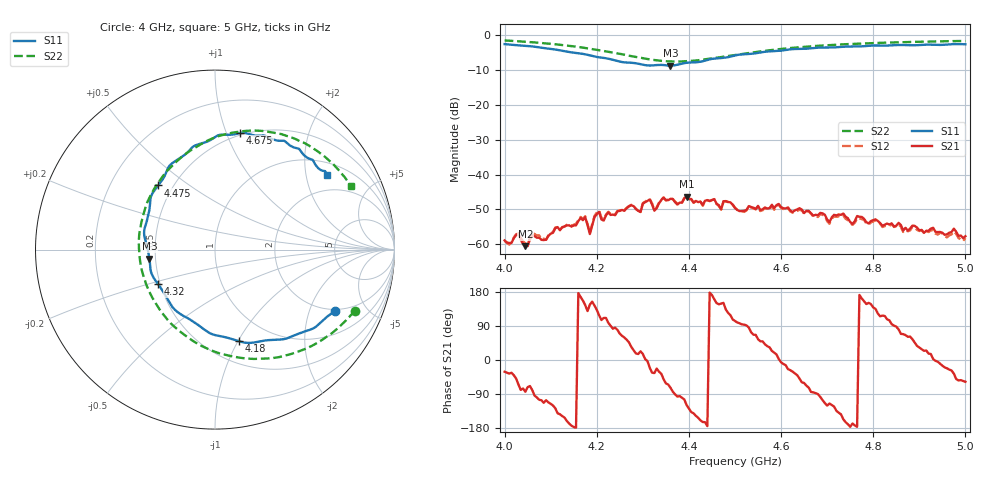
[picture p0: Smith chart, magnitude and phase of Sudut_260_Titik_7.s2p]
# Hz S RI R 50
! CMT, C1220, 16058040, 17.2.0/1
! Date: 15/08/2018 12:04:43
! Data: Format (Calibration Info)
! Freq  S11: Re/Im (F2)  S21: Re/Im (F2)  S12: Re/Im (F2)  S22: Re/Im (F2)
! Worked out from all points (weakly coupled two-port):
!   201 points, 4 GHz to 5 GHz, reference 50 ohm
!   highest |S21| = -46.35 dB at 4.395 GHz (marker M1); lowest = -60.6 dB at 4.045 GHz (marker M2)
!   lowest |S11| = -8.7 dB at 4.36 GHz (marker M3), VSWR 2.17, Z = 23.1 - j2.69 ohm
!   |S11| at or under -10 dB: nowhere
!   |S22| runs from -7.5 to -1.4 dB; largest |S21 - S12| = 0.00021
!   S11 on the Smith chart (normalised r, x): 4 GHz: 1.92, -3.02; 4.18 GHz: 0.71, -1.01; 4.32 GHz: 0.49, -0.22; 4.475 GHz: 0.41, +0.38; 4.675 GHz: 0.48, +1.12; 5 GHz: 1.41, +2.64
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4e9  0.6693 -0.3418  0.000971 -0.000584  0.000984 -0.000518  0.7775 -0.3399
4.03e9  0.6083 -0.3885  0.000608 -0.00129  0.000629 -0.00128  0.7194 -0.4045
4.045e9  0.5736 -0.421  0.000102 -0.000931  0.000187 -0.00101  0.6862 -0.4363
4.06e9  0.5382 -0.443  0.000246 -0.00132  0.000278 -0.00144  0.6508 -0.4661
4.09e9  0.4478 -0.4758  -0.000323 -0.00111  -0.000289 -0.00112  0.5685 -0.5204
4.17e9  0.166 -0.5183  -0.00203 0.000877  -0.00213 0.000909  0.2816 -0.607
4.18e9  0.1336 -0.5103  -0.00119 0.00145  -0.00122 0.00151  0.2403 -0.6084
4.185e9  0.1165 -0.5052  -0.00116 0.000779  -0.00122 0.000815  0.2187 -0.6092
4.205e9  0.039 -0.4843  -0.00137 0.00257  -0.00143 0.00271  0.1315 -0.6012
4.215e9  0.000763 -0.4764  -0.000781 0.00204  -0.000746 0.00217  0.0867 -0.593
4.32e9  -0.3176 -0.1914  0.00311 -0.00205  0.00326 -0.00208  -0.3244 -0.3087
4.335e9  -0.3496 -0.1423  0.00332 -0.00197  0.00341 -0.00202  -0.3624 -0.2417
4.36e9  -0.3658 -0.0503  0.00129 -0.0043  0.0013 -0.00441  -0.4065 -0.1195
4.395e9  -0.3952 0.0904  -0.00233 -0.00421  -0.00248 -0.00412  -0.4239 0.0547
4.47e9  -0.3287 0.341  -0.00271 0.00164  -0.00268 0.00168  -0.3152 0.3745
4.475e9  -0.3169 0.3573  -0.00361 0.00203  -0.00354 0.00209  -0.3036 0.3908
4.5e9  -0.2669 0.4417  -0.000746 0.00326  -0.000687 0.00323  -0.2399 0.4663
4.595e9  -0.0523 0.5984  0.00378 0.000164  0.00366 0.000176  0.0291 0.6349
4.67e9  0.1278 0.6467  0.000205 -0.00257  0.000148 -0.0025  0.2366 0.6626
4.675e9  0.138 0.6494  0.000119 -0.00265  0.000115 -0.00252  0.2492 0.662
4.835e9  0.4362 0.5705  -0.000487 0.00186  -0.000475 0.00178  0.5723 0.5473
5e9  0.6235 0.4134  0.0007 -0.0011  0.000698 -0.00101  0.7579 0.3516
